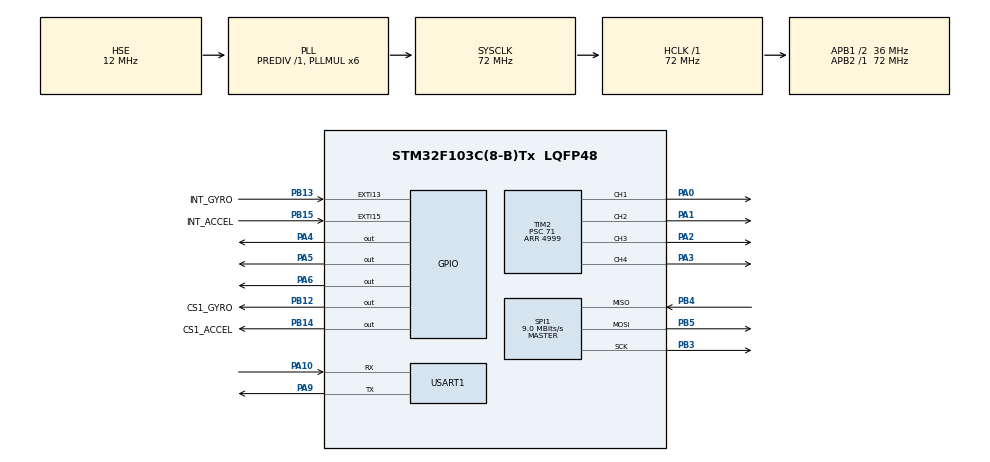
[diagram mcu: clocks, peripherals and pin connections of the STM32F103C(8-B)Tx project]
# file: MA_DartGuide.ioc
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FREERTOS.Tasks01=Ins_Task,24,512,IMU_Task,Default,NULL,Dynamic,NULL,NULL;CTL_Task,24,256,Control_Task,Default,NULL,Dynamic,NULL,NULL;LED_Task,8,128,led_task,Default,NULL,Dynamic,NULL,NULL
FREERTOS.configTOTAL_HEAP_SIZE=6144
Mcu.Family=STM32F1
Mcu.Name=STM32F103C(8-B)Tx
Mcu.Package=LQFP48
NVIC.PriorityGroup=NVIC_PRIORITYGROUP_4
NVIC.TIM1_UP_IRQn=true\:15\:0\:false\:false\:true\:false\:false\:true\:true
NVIC.USART1_IRQn=true\:5\:0\:true\:false\:true\:true\:true\:true\:true
NVIC.TimeBase=TIM1_UP_IRQn
NVIC.TimeBaseIP=TIM1
PA0-WKUP.Signal=S_TIM2_CH1_ETR
PA1.Signal=S_TIM2_CH2
PA10.Mode=Asynchronous
PA10.Signal=USART1_RX
PA13.Mode=Serial_Wire
PA13.Signal=SYS_JTMS-SWDIO
PA14.Mode=Serial_Wire
PA14.Signal=SYS_JTCK-SWCLK
PA2.Signal=S_TIM2_CH3
PA3.Signal=S_TIM2_CH4
PA4.PinState=GPIO_PIN_SET
PA4.Signal=GPIO_Output
PA5.PinState=GPIO_PIN_SET
PA5.Signal=GPIO_Output
PA6.PinState=GPIO_PIN_SET
PA6.Signal=GPIO_Output
PA9.Mode=Asynchronous
PA9.Signal=USART1_TX
PB12.GPIO_Label=CS1_GYRO
PB12.GPIO_PuPd=GPIO_PULLUP
PB12.GPIO_Speed=GPIO_SPEED_FREQ_HIGH
PB12.PinState=GPIO_PIN_SET
PB12.Signal=GPIO_Output
PB13.GPIO_Label=INT_GYRO
PB13.Signal=GPXTI13
PB14.GPIO_Label=CS1_ACCEL
PB14.GPIO_PuPd=GPIO_PULLUP
PB14.GPIO_Speed=GPIO_SPEED_FREQ_HIGH
PB14.PinState=GPIO_PIN_SET
PB14.Signal=GPIO_Output
PB15.GPIO_Label=INT_ACCEL
PB15.Signal=GPXTI15
PB3.Mode=Full_Duplex_Master
PB3.Signal=SPI1_SCK
PB4.GPIO_PuPd=GPIO_PULLUP
PB4.Mode=Full_Duplex_Master
PB4.Signal=SPI1_MISO
PB5.Mode=Full_Duplex_Master
PB5.Signal=SPI1_MOSI
PB8.Signal=CAN_RX
PB9.Signal=CAN_TX
PD0-OSC_IN.Mode=HSE-External-Oscillator
PD0-OSC_IN.Signal=RCC_OSC_IN
PD1-OSC_OUT.Mode=HSE-External-Oscillator
PD1-OSC_OUT.Signal=RCC_OSC_OUT
ProjectManager.HeapSize=0x0
ProjectManager.StackSize=0x800
ProjectManager.TargetToolchain=MDK-ARM V5.32
RCC.AHBFreq_Value=72000000
RCC.APB1CLKDivider=RCC_HCLK_DIV2
RCC.APB1Freq_Value=36000000
RCC.APB1TimFreq_Value=72000000
RCC.APB2Freq_Value=72000000
RCC.APB2TimFreq_Value=72000000
RCC.HCLKFreq_Value=72000000
RCC.HSE_VALUE=12000000
RCC.PLLMUL=RCC_PLL_MUL6
RCC.PLLSourceVirtual=RCC_PLLSOURCE_HSE
RCC.SYSCLKFreq_VALUE=72000000
RCC.SYSCLKSource=RCC_SYSCLKSOURCE_PLLCLK
SH.S_TIM2_CH1_ETR.0=TIM2_CH1,PWM Generation1 CH1
SH.S_TIM2_CH2.0=TIM2_CH2,PWM Generation2 CH2
SH.S_TIM2_CH3.0=TIM2_CH3,PWM Generation3 CH3
SH.S_TIM2_CH4.0=TIM2_CH4,PWM Generation4 CH4
SPI1.BaudRatePrescaler=SPI_BAUDRATEPRESCALER_8
SPI1.CLKPhase=SPI_PHASE_2EDGE
SPI1.CLKPolarity=SPI_POLARITY_HIGH
SPI1.CalculateBaudRate=9.0 MBits/s
SPI1.Direction=SPI_DIRECTION_2LINES
SPI1.Mode=SPI_MODE_MASTER
SPI1.VirtualType=VM_MASTER
TIM2.Channel-PWM\ Generation1\ CH1=TIM_CHANNEL_1
TIM2.Channel-PWM\ Generation2\ CH2=TIM_CHANNEL_2
TIM2.Channel-PWM\ Generation3\ CH3=TIM_CHANNEL_3
TIM2.Channel-PWM\ Generation4\ CH4=TIM_CHANNEL_4
TIM2.Period=4999
TIM2.Prescaler=71
TIM2.Pulse-PWM\ Generation4\ CH4=500
USART1.VirtualMode=VM_ASYNC
VP_FREERTOS_VS_CMSIS_V2.Mode=CMSIS_V2
VP_SYS_VS_tim1.Mode=TIM1
board=custom

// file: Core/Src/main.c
/* USER CODE BEGIN Header */
/**
  ******************************************************************************
  * @file           : main.c
  * @brief          : Main program body
  ******************************************************************************
  * @attention
  *
  * Copyright (c) 2026 STMicroelectronics.
  * All rights reserved.
  *
  * This software is licensed under terms that can be found in the LICENSE file
  * in the root directory of this software component.
  * If no LICENSE file comes with this software, it is provided AS-IS.
  *
  ******************************************************************************
  */
/* USER CODE END Header */
#include "main.h"
#include "cmsis_os.h"
#include "spi.h"
#include "tim.h"
#include "usart.h"
#include "gpio.h"

/* USER CODE BEGIN Includes */
#include "bsp_dwt.h"
/* USER CODE END Includes */

void SystemClock_Config(void);
void MX_FREERTOS_Init(void);

int main(void)
{

  /* MCU Configuration--------------------------------------------------------*/

  /* Reset of all peripherals, Initializes the Flash interface and the Systick. */
  HAL_Init();

  /* Configure the system clock */
  SystemClock_Config();

  /* Initialize all configured peripherals */
  MX_GPIO_Init();
  MX_SPI1_Init();
  MX_TIM2_Init();
  MX_USART1_UART_Init();
  /* USER CODE BEGIN 2 */
  DWT_Init(HAL_RCC_GetHCLKFreq() / 1000000U);
  /* BMI088 is initialized with retry handling by IMU_Task. */
  /* USER CODE END 2 */

  /* Init scheduler */
  osKernelInitialize();  /* Call init function for freertos objects (in cmsis_os2.c) */
  MX_FREERTOS_Init();

  /* Start scheduler */
  osKernelStart();

  /* We should never get here as control is now taken by the scheduler */

  /* Infinite loop */
  while (1)
  {

  }
}

void SystemClock_Config(void)
{
  RCC_OscInitTypeDef RCC_OscInitStruct = {0};
  RCC_ClkInitTypeDef RCC_ClkInitStruct = {0};

  /** Initializes the RCC Oscillators according to the specified parameters
  * in the RCC_OscInitTypeDef structure.
  */
  RCC_OscInitStruct.OscillatorType = RCC_OSCILLATORTYPE_HSE;
  RCC_OscInitStruct.HSEState = RCC_HSE_ON;
  RCC_OscInitStruct.HSEPredivValue = RCC_HSE_PREDIV_DIV1;
  RCC_OscInitStruct.HSIState = RCC_HSI_ON;
  RCC_OscInitStruct.PLL.PLLState = RCC_PLL_ON;
  RCC_OscInitStruct.PLL.PLLSource = RCC_PLLSOURCE_HSE;
  RCC_OscInitStruct.PLL.PLLMUL = RCC_PLL_MUL6;
  if (HAL_RCC_OscConfig(&RCC_OscInitStruct) != HAL_OK)
  {
    Error_Handler();
  }

  /** Initializes the CPU, AHB and APB buses clocks
  */
  RCC_ClkInitStruct.ClockType = RCC_CLOCKTYPE_HCLK|RCC_CLOCKTYPE_SYSCLK
                              |RCC_CLOCKTYPE_PCLK1|RCC_CLOCKTYPE_PCLK2;
  RCC_ClkInitStruct.SYSCLKSource = RCC_SYSCLKSOURCE_PLLCLK;
  RCC_ClkInitStruct.AHBCLKDivider = RCC_SYSCLK_DIV1;
  RCC_ClkInitStruct.APB1CLKDivider = RCC_HCLK_DIV2;
  RCC_ClkInitStruct.APB2CLKDivider = RCC_HCLK_DIV1;

  if (HAL_RCC_ClockConfig(&RCC_ClkInitStruct, FLASH_LATENCY_2) != HAL_OK)
  {
    Error_Handler();
  }
}

void HAL_TIM_PeriodElapsedCallback(TIM_HandleTypeDef *htim)
{
  if (htim->Instance == TIM1)
  {
    HAL_IncTick();
  }
}

void Error_Handler(void)
{
  __disable_irq();
  while (1)
  {
  }
}

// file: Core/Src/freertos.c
/* USER CODE BEGIN Header */
/**
  ******************************************************************************
  * File Name          : freertos.c
  * Description        : Code for freertos applications
  ******************************************************************************
  * @attention
  *
  * Copyright (c) 2026 STMicroelectronics.
  * All rights reserved.
  *
  * This software is licensed under terms that can be found in the LICENSE file
  * in the root directory of this software component.
  * If no LICENSE file comes with this software, it is provided AS-IS.
  *
  ******************************************************************************
  */
/* USER CODE END Header */

#include "FreeRTOS.h"
#include "task.h"
#include "main.h"
#include "cmsis_os.h"

/* USER CODE BEGIN Includes */
#include "ins_task.h"
#include "ctl_task.h"
#include "spi.h"

/* USER CODE END Includes */

/* Definitions for Ins_Task */
osThreadId_t Ins_TaskHandle;
const osThreadAttr_t Ins_Task_attributes = {
  .name = "Ins_Task",
  .stack_size = 512 * 4,
  .priority = (osPriority_t) osPriorityNormal,
};
/* Definitions for CTL_Task */
osThreadId_t CTL_TaskHandle;
const osThreadAttr_t CTL_Task_attributes = {
  .name = "CTL_Task",
  .stack_size = 256 * 4,
  .priority = (osPriority_t) osPriorityNormal,
};
/* Definitions for LED_Task */
osThreadId_t LED_TaskHandle;
const osThreadAttr_t LED_Task_attributes = {
  .name = "LED_Task",
  .stack_size = 128 * 4,
  .priority = (osPriority_t) osPriorityLow,
};

void IMU_Task(void *argument);
void Control_Task(void *argument);
void led_task(void *argument);

void MX_FREERTOS_Init(void); /* (MISRA C 2004 rule 8.1) */

void MX_FREERTOS_Init(void) {

  /* Create the thread(s) */
  /* creation of Ins_Task */
  Ins_TaskHandle = osThreadNew(IMU_Task, NULL, &Ins_Task_attributes);

  /* creation of CTL_Task */
  CTL_TaskHandle = osThreadNew(Control_Task, NULL, &CTL_Task_attributes);

  /* creation of LED_Task */
  LED_TaskHandle = osThreadNew(led_task, NULL, &LED_Task_attributes);

  /* USER CODE BEGIN RTOS_THREADS */
  /* 2026-11-21：configTOTAL_HEAP_SIZE 收到 6144 B（三任务共约 3.9 kB）。
     堆不足时 osThreadNew 返回 NULL，任务静默不运行、舵机永远不输出，
     现场会表现成"没反应"。这里拦成 Error_Handler，把静默失败变成可见故障。 */
  if ((Ins_TaskHandle == NULL) || (CTL_TaskHandle == NULL) ||
      (LED_TaskHandle == NULL))
  {
    Error_Handler();
  }
  /* USER CODE END RTOS_THREADS */

}

void IMU_Task(void *argument)
{
  /* USER CODE BEGIN IMU_Task */
  uint8_t imu_error;

  control_notify_imu_ready(0U);
  do
  {
    /* Recalibrate gyro bias while the dart is stationary at every power-up.
       Yaw has no gravity reference, so a stale Z bias integrates directly. */
    imu_error = BMI088_init(&hspi1, 1U);
    if (imu_error != BMI088_NO_ERROR)
      osDelay(100U);
  } while (imu_error != BMI088_NO_ERROR);

  INS_Init();
  osDelay(1U);
  INS_Task();
  control_notify_imu_ready(1U);
  /* Infinite loop */
  for(;;)
  {
    INS_Task();
    osDelay(1);
  }
  /* USER CODE END IMU_Task */
}

void Control_Task(void *argument)
{
  /* USER CODE BEGIN Control_Task */
	control_Init();
  /* Infinite loop */
  for(;;)
  {
    control_Task();
    osDelay(DART_CONTROL_PERIOD_MS);
  }
  /* USER CODE END Control_Task */
}

void led_task(void *argument)
{
  /* USER CODE BEGIN led_task */
  /* Infinite loop */
  for(;;)
  {
    led_Task();
    /* 50 Hz 向 OpenMV 发送 pitch/yaw/roll 姿态帧。
       放在低优先级任务中，避免阻塞 2 ms 控制任务。 */
    attitude_telemetry_send();
    /* 握手成功前每 100 ms 发送握手帧；收到 ACK 后停止。 */
    openmv_handshake_send();
    osDelay(20U);
  }
  /* USER CODE END led_task */
}
